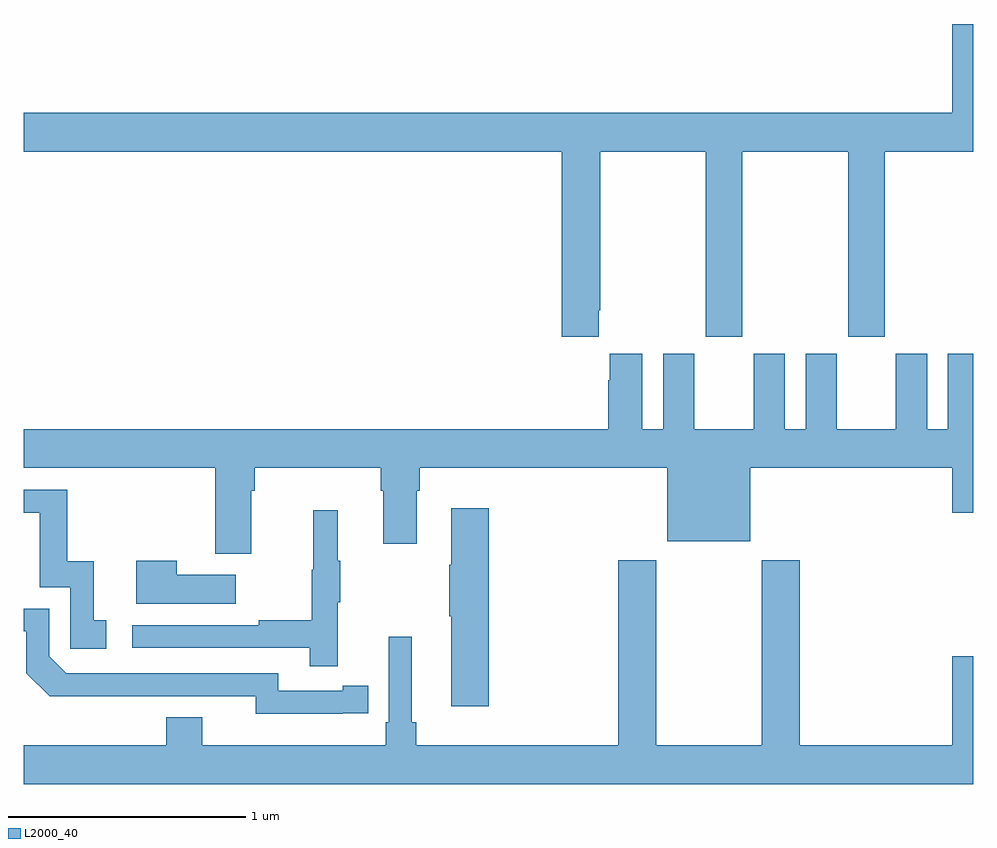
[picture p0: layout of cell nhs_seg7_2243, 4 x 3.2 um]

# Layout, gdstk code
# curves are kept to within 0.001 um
import gdstk
lib = gdstk.Library(unit=1e-6, precision=1e-09)
def P(c, l, *ps):  # polygons
    for p in ps: c.add(gdstk.Polygon(p, *l))
L2000_40 = (2000, 40)

nhs_seg7_2243 = lib.new_cell('nhs_seg7_2243')
P(nhs_seg7_2243, L2000_40, [(259.423,1054.561),(259.428,1054.561),(259.428,1055.228),(259.873,1055.228),(259.873,1054.449),(260.028,1054.449),(260.028,1055.228),(260.473,1055.228),(260.473,1054.449),(260.628,1054.449),(260.628,1055.228),(261,1055.228),(261,1055.767),(260.912,1055.767),(260.912,1055.392),(257,1055.392),(257,1055.228),(259.267,1055.228),(259.267,1054.449),(259.423,1054.449)],
  [(257.959,1053.8),(257.972,1053.8),(257.972,1053.896),(258.503,1053.896),(258.503,1053.8),(258.515,1053.8),(258.515,1053.576),(258.655,1053.576),(258.655,1053.8),(258.668,1053.8),(258.668,1053.896),(259.712,1053.896),(259.712,1053.587),(260.062,1053.587),(260.062,1053.896),(260.912,1053.896),(260.912,1053.708),(261,1053.708),(261,1054.378),(260.894,1054.378),(260.894,1054.06),(260.806,1054.06),(260.806,1054.378),(260.675,1054.378),(260.675,1054.06),(260.425,1054.06),(260.425,1054.378),(260.294,1054.378),(260.294,1054.06),(260.206,1054.06),(260.206,1054.378),(260.075,1054.378),(260.075,1054.06),(259.825,1054.06),(259.825,1054.378),(259.694,1054.378),(259.694,1054.06),(259.606,1054.06),(259.606,1054.378),(259.469,1054.378),(259.469,1054.265),(259.463,1054.265),(259.463,1054.06),(257,1054.06),(257,1053.896),(257.807,1053.896),(257.807,1053.534),(257.959,1053.534)],
  [(257.347,1053.255),(257.294,1053.255),(257.294,1053.502),(257.183,1053.502),(257.183,1053.804),(257,1053.804),(257,1053.708),(257.067,1053.708),(257.067,1053.393),(257.196,1053.393),(257.196,1053.135),(257.347,1053.135)],
  [(258.959,1053.727),(258.8,1053.727),(258.8,1053.488),(258.793,1053.488),(258.793,1053.271),(258.8,1053.271),(258.8,1052.892),(258.959,1052.892)],
  [(258.323,1053.331),(258.334,1053.331),(258.334,1053.505),(258.323,1053.505),(258.323,1053.718),(258.22,1053.718),(258.22,1053.468),(258.213,1053.468),(258.213,1053.254),(257.989,1053.254),(257.989,1053.234),(257.457,1053.234),(257.457,1053.138),(258.205,1053.138),(258.205,1053.06),(258.323,1053.06)],
  [(261,1053.103),(260.912,1053.103),(260.912,1052.728),(260.27,1052.728),(260.27,1053.508),(260.11,1053.508),(260.11,1052.728),(259.665,1052.728),(259.665,1053.508),(259.505,1053.508),(259.505,1052.728),(258.653,1052.728),(258.653,1052.824),(258.634,1052.824),(258.634,1053.184),(258.537,1053.184),(258.537,1052.824),(258.524,1052.824),(258.524,1052.728),(257.752,1052.728),(257.752,1052.845),(257.6,1052.845),(257.6,1052.728),(257,1052.728),(257,1052.564),(261,1052.564)],
  [(257.893,1053.445),(257.645,1053.445),(257.645,1053.505),(257.474,1053.505),(257.474,1053.323),(257.893,1053.323)],
  [(258.344,1052.862),(258.452,1052.862),(258.452,1052.978),(258.344,1052.978),(258.344,1052.958),(258.072,1052.958),(258.072,1053.03),(257.178,1053.03),(257.106,1053.102),(257.106,1053.303),(257,1053.303),(257,1053.207),(257.01,1053.207),(257.01,1053.03),(257.108,1052.933),(257.976,1052.934),(257.976,1052.861)])

lib.write_gds('nhs_seg7_2243.gds')
